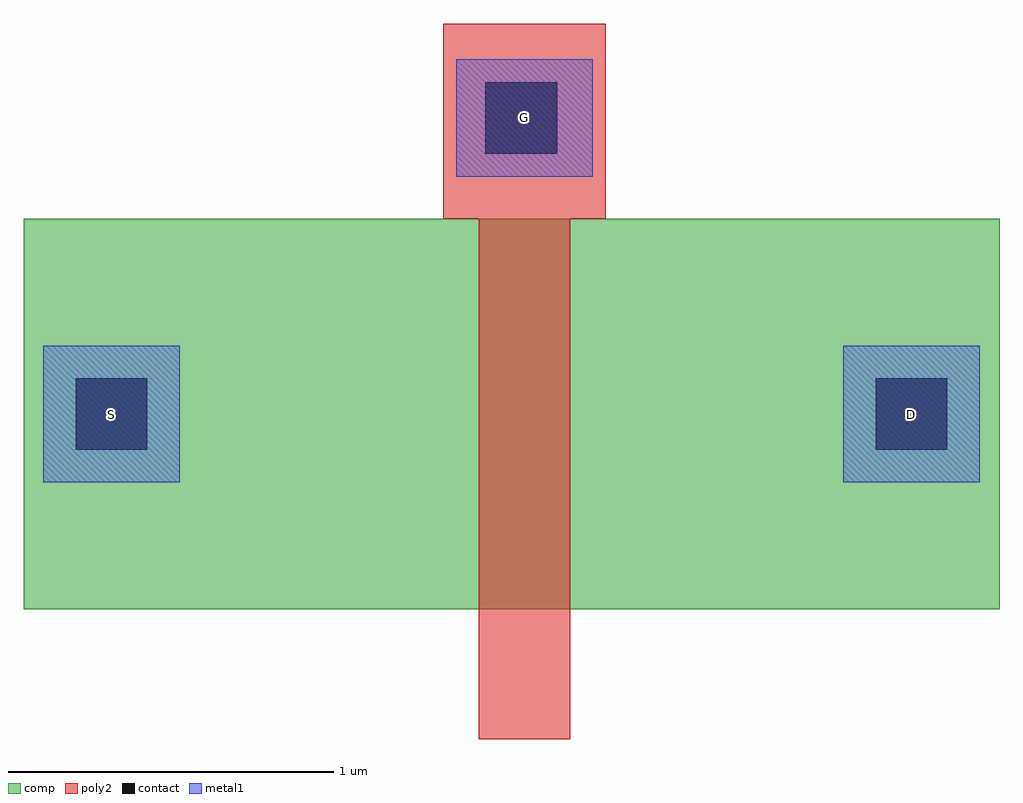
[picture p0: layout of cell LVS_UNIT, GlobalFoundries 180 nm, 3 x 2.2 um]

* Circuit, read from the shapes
.subckt LVS_UNIT D G S
XM1 D G S VSUBS nfet_03v3 w=1.2u l=0.28u
.ends

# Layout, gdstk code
import gdstk
lib = gdstk.Library(unit=1e-6, precision=1e-09)
def R(c, l, rs):  # rectangles x0, y0, x1, y1
    for r in rs: c.add(gdstk.rectangle(r[:2], r[2:], *l))
comp = (22, 0)
poly2 = (30, 0)
contact = (33, 0)
metal1 = (34, 0)

lvs_unit = lib.new_cell('LVS_UNIT')
R(lvs_unit, comp, [(0,0,3,1.2)])
R(lvs_unit, poly2, [(1.4,-0.4,1.68,1.2), (1.29,1.2,1.79,1.8)])
R(lvs_unit, contact, [(0.16,0.49,0.38,0.71), (2.62,0.49,2.84,0.71), (1.42,1.4,1.64,1.62)])
R(lvs_unit, metal1, [(0.06,0.39,0.48,0.81), (2.52,0.39,2.94,0.81), (1.33,1.33,1.75,1.69)])
lvs_unit.add(gdstk.Label('S', (0.27,0.6), layer=34, texttype=10))
lvs_unit.add(gdstk.Label('D', (2.73,0.6), layer=34, texttype=10))
lvs_unit.add(gdstk.Label('G', (1.54,1.51), layer=34, texttype=10))

lib.write_gds('LVS_UNIT.gds')
